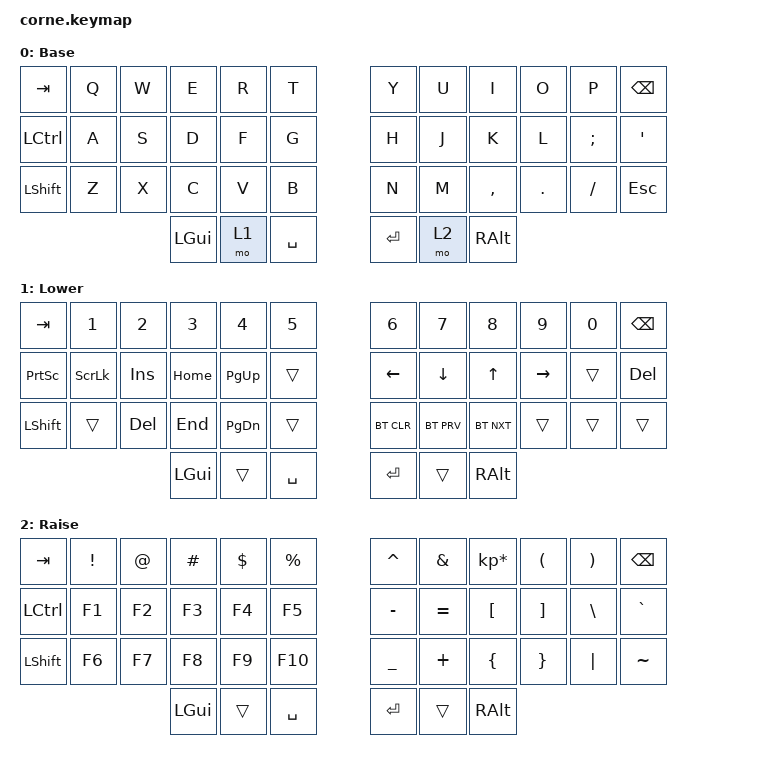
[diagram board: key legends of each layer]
/*
 * Copyright (c) 2020 The ZMK Contributors
 *
 * SPDX-License-Identifier: MIT
 */

#include <behaviors.dtsi>
#include <dt-bindings/zmk/bt.h>
#include <dt-bindings/zmk/keys.h>

/ {
    keymap {
        compatible = "zmk,keymap";

        default_layer {
            // -----------------------------------------------------------------------------------------
            // |  TAB |  Q  |  W  |  E  |  R  |  T  |   |  Y  |  U   |  I  |  O  |  P  | BKSP |
            // | CTRL |  A  |  S  |  D  |  F  |  G  |   |  H  |  J   |  K  |  L  |  ;  |  '   |
            // | SHFT |  Z  |  X  |  C  |  V  |  B  |   |  N  |  M   |  ,  |  .  |  /  | ESC  |
            //                    | GUI | LWR | SPC |   | ENT | RSE  | ALT |

            display-name = "Base";
            bindings = <
&kp TAB     &kp Q  &kp W  &kp E     &kp R  &kp T        &kp Y    &kp U  &kp I      &kp O    &kp P     &kp BSPC
&kp LCTRL   &kp A  &kp S  &kp D     &kp F  &kp G        &kp H    &kp J  &kp K      &kp L    &kp SEMI  &kp SQT
&kp LSHIFT  &kp Z  &kp X  &kp C     &kp V  &kp B        &kp N    &kp M  &kp COMMA  &kp DOT  &kp FSLH  &kp ESC
                          &kp LGUI  &mo 1  &kp SPACE    &kp RET  &mo 2  &kp RALT
            >;
        };

        lower_layer {
            // -----------------------------------------------------------------------------------------
            // |  TAB |  1  |  2  |  3  |  4  |  5  |   |  6  |  7  |  8  |  9  |  0  | BKSP |
            // | BTCLR| BT1 | BT2 | BT3 | BT4 | BT5 |   | LFT | DWN |  UP | RGT |     |      |
            // | SHFT |     |     |     |     |     |   |     |     |     |     |     |      |
            //                    | GUI |     | SPC |   | ENT |     | ALT |

            display-name = "Lower";
            bindings = <
&kp TAB          &kp N1          &kp N2      &kp N3    &kp N4     &kp N5       &kp N6      &kp N7      &kp N8      &kp N9     &kp N0  &kp BSPC
&kp PRINTSCREEN  &kp SCROLLLOCK  &kp INSERT  &kp HOME  &kp PG_UP  &trans       &kp LEFT    &kp DOWN    &kp UP      &kp RIGHT  &trans  &kp DEL
&kp LSHFT        &trans          &kp DEL     &kp END   &kp PG_DN  &trans       &bt BT_CLR  &bt BT_PRV  &bt BT_NXT  &trans     &trans  &trans
                                             &kp LGUI  &trans     &kp SPACE    &kp RET     &trans      &kp RALT
            >;
        };

        raise_layer {
            // -----------------------------------------------------------------------------------------
            // |  TAB |  !  |  @  |  #  |  $  |  %  |   |  ^  |  &  |  *  |  (  |  )  | BKSP |
            // | CTRL |     |     |     |     |     |   |  -  |  =  |  [  |  ]  |  \  |  `   |
            // | SHFT |     |     |     |     |     |   |  _  |  +  |  {  |  }  | "|" |  ~   |
            //                    | GUI |     | SPC |   | ENT |     | ALT |

            display-name = "Raise";
            bindings = <
&kp TAB     &kp EXCL  &kp AT  &kp HASH  &kp DLLR  &kp PRCNT    &kp CARET  &kp AMPS   &kp KP_MULTIPLY  &kp LPAR  &kp RPAR  &kp BSPC
&kp LCTRL   &kp F1    &kp F2  &kp F3    &kp F4    &kp F5       &kp MINUS  &kp EQUAL  &kp LBKT         &kp RBKT  &kp BSLH  &kp GRAVE
&kp LSHIFT  &kp F6    &kp F7  &kp F8    &kp F9    &kp F10      &kp UNDER  &kp PLUS   &kp LBRC         &kp RBRC  &kp PIPE  &kp TILDE
                              &kp LGUI  &trans    &kp SPACE    &kp RET    &trans     &kp RALT
            >;
        };

        extra_1 { status = "reserved"; };

        extra_2 { status = "reserved"; };

        extra_3 { status = "reserved"; };
    };
};
